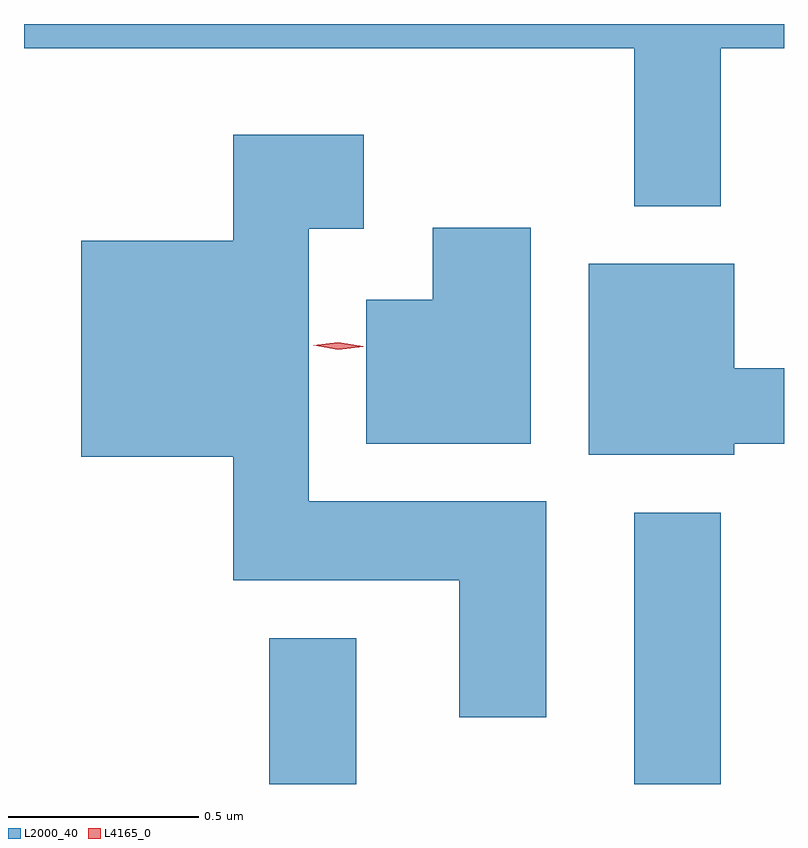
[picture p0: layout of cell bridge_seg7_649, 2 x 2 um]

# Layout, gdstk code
import gdstk
lib = gdstk.Library(unit=1e-6, precision=1e-09)
def R(c, l, rs):  # rectangles x0, y0, x1, y1
    for r in rs: c.add(gdstk.rectangle(r[:2], r[2:], *l))
def P(c, l, *ps):  # polygons
    for p in ps: c.add(gdstk.Polygon(p, *l))
L2000_40 = (2000, 40)
L4165_0 = (4165, 0)

bridge_seg7_649 = lib.new_cell('bridge_seg7_649')
R(bridge_seg7_649, L2000_40, [(762.621,1732.36,762.849,1732.744), (763.581,1732.36,763.809,1733.074)])
P(bridge_seg7_649, L2000_40, [(763.809,1734.296),(763.975,1734.296),(763.975,1734.36),(761.975,1734.36),(761.975,1734.296),(763.581,1734.296),(763.581,1733.881),(763.809,1733.881)],
  [(763.349,1733.104),(762.724,1733.104),(762.724,1733.821),(762.869,1733.821),(762.869,1734.069),(762.526,1734.069),(762.526,1733.789),(762.126,1733.789),(762.126,1733.221),(762.526,1733.221),(762.526,1732.896),(763.121,1732.896),(763.121,1732.536),(763.349,1732.536)],
  [(763.309,1733.824),(763.051,1733.824),(763.051,1733.634),(762.876,1733.634),(762.876,1733.256),(763.309,1733.256)],
  [(763.844,1733.256),(763.975,1733.256),(763.975,1733.454),(763.844,1733.454),(763.844,1733.729),(763.461,1733.729),(763.461,1733.226),(763.844,1733.226)])
P(bridge_seg7_649, L4165_0, [(762.802,1733.503),(762.736,1733.514),(762.736,1733.514),(762.736,1733.515),(762.802,1733.523),(762.868,1733.512),(762.868,1733.512),(762.868,1733.511)])

lib.write_gds('bridge_seg7_649.gds')
